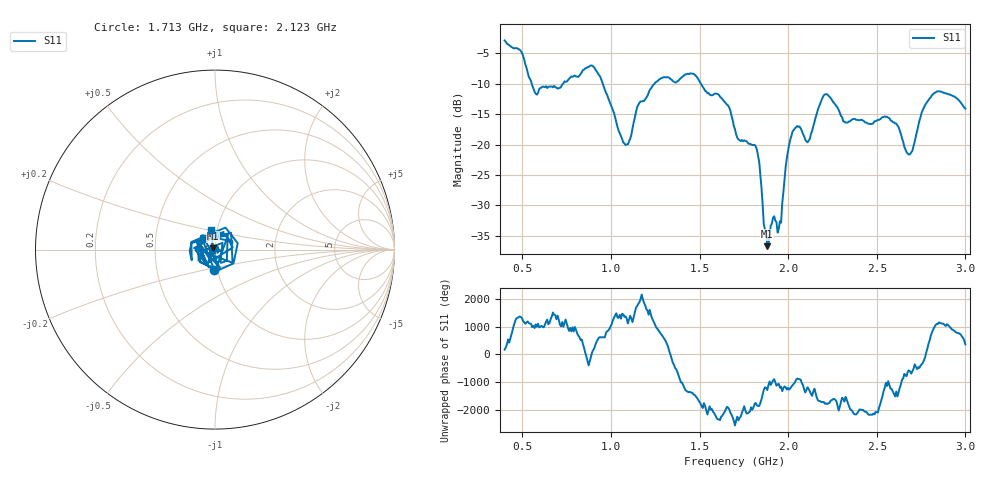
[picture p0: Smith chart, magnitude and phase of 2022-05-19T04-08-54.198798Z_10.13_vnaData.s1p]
!Created with skrf (http://scikit-rf.org).
# Hz S RI R 50.0
!freq ReS11 ImS11
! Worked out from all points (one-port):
!   401 points, 400 MHz to 3 GHz, reference 50 ohm
!   lowest |S11| = -36.7 dB at 1.882 GHz (marker M1), VSWR 1.03, Z = 48.8 + j0.749 ohm
!   |S11| at or under -10 dB: 553.4 MHz to 729.4 MHz (175.9 MHz wide, 27.4 % of centre); 953.9 MHz to 1.245 GHz (291.2 MHz wide, 26.5 % of centre); 1.508 GHz to end of sweep
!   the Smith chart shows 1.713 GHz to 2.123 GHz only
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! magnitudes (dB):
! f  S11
! 400 MHz  -2.9
! 491 MHz  -4.6
! 575.5 MHz  -11.6
! 725 MHz  -10.1
! 900.5 MHz  -7.2
! 1.05 GHz  -18.2
! 1.095 GHz  -20.0
! 1.154 GHz  -13.5
! 1.258 GHz  -9.6
! 1.375 GHz  -9.6
! 1.472 GHz  -8.5
! 1.655 GHz  -13.4
! 1.7 GHz  -17.5
! 1.823 GHz  -20.8
! 1.882 GHz  -36.7
! 1.915 GHz  -32.1
! 1.954 GHz  -32.6
! 1.992 GHz  -22.3
! 2.025 GHz  -17.8
! 2.116 GHz  -19.3
! 2.213 GHz  -11.7
! 2.35 GHz  -16.2
! 2.558 GHz  -15.4
! 2.616 GHz  -16.9
! 2.675 GHz  -21.5
! 2.766 GHz  -13.9
! 2.825 GHz  -11.5
! 3 GHz  -14.1
